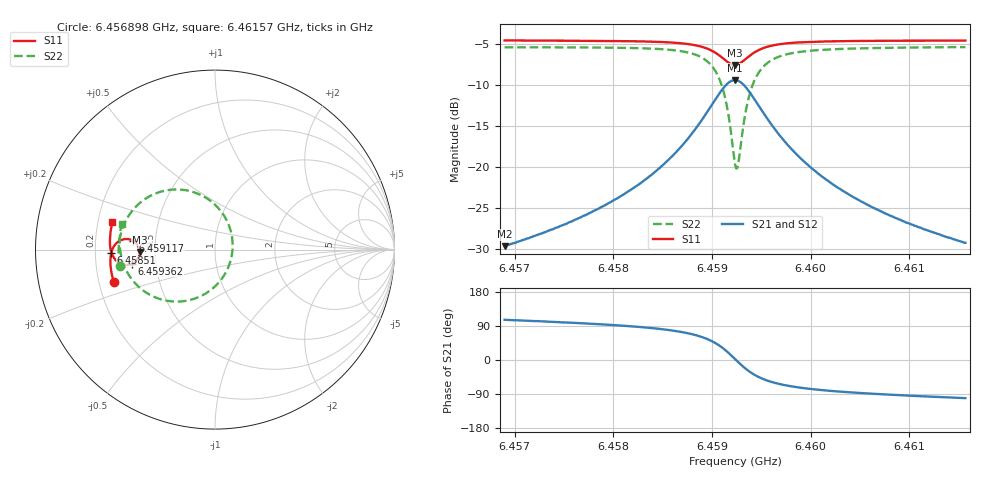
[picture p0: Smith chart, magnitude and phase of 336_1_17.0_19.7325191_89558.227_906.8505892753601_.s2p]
#  HZ  S  RI  R  50.00
! Rohde & Schwarz Vector Network Analyzer
! Rohde-Schwarz,ZNB20-2Port,1311601062101988,3.16
! Created: UTC 3/20/2024, 11:07:07 PM
! freq[Hz]  re:S11  im:S11  re:S21  im:S21  re:S12  im:S12  re:S22  im:S22
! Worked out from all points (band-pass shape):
!   401 points, 6.456898 GHz to 6.46157 GHz, reference 50 ohm
!   highest |S21| = -9.38 dB at 6.459234 GHz (marker M1); lowest = -29.6 dB at 6.456898 GHz (marker M2)
!   |S21| within 3 dB of the highest: 6.459 GHz to 6.459467 GHz (467.3 kHz wide, 0.00723 % of centre)
!   lowest |S11| = -7.5 dB at 6.459234 GHz (marker M3), VSWR 2.45, Z = 20.4 - j0.644 ohm
!   |S11| at or under -10 dB: nowhere
!   |S22| runs from -20.2 to -5.4 dB; largest |S21 - S12| = 0.013
!   S11 on the Smith chart (normalised r, x): 6.456898 GHz: 0.26, -0.14; 6.45851 GHz: 0.27, -0.02; 6.459117 GHz: 0.37, +0.05; 6.459362 GHz: 0.37, -0.07; 6.46157 GHz: 0.26, +0.12
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6.4568977e9  -0.5648 -0.1782  -0.00917 0.0317  -0.00737 0.0317  -0.5304 -0.0908
6.4576803e9  -0.5797 -0.1103  -0.00579 0.0494  -0.00345 0.0489  -0.5368 -0.000608
6.4580892e9  -0.5831 -0.0697  -0.000731 0.0672  0.00243 0.066  -0.5303 0.0622
6.458463e9  -0.5797 -0.0258  0.0131 0.0972  0.0171 0.0945  -0.5053 0.1436
6.4585097e9  -0.5783 -0.0193  0.0165 0.1024  0.0206 0.0996  -0.4993 0.1567
6.4587199e9  -0.5664 0.0125  0.042 0.1339  0.0462 0.1292  -0.4514 0.2276
6.4588718e9  -0.5455 0.0389  0.084 0.1641  0.0874 0.1576  -0.3746 0.2913
6.4590236e9  -0.4997 0.0588  0.1745 0.1829  0.1756 0.1756  -0.2097 0.3351
6.4591171e9  -0.4556 0.049  0.2631 0.1527  0.2634 0.1466  -0.0465 0.2864
6.4591638e9  -0.4348 0.0304  0.3062 0.1105  0.3074 0.1051  0.0347 0.2118
6.4592339e9  -0.4201 -0.013  0.3391 0.0153  0.3427 0.00821  0.0982 0.0359
6.4592456e9  -0.4204 -0.0209  0.339 -0.00217  0.3425 -0.00977  0.098 0.00318
6.4592689e9  -0.4239 -0.0364  0.3337 -0.0364  0.3371 -0.0453  0.0872 -0.0611
6.4593273e9  -0.4443 -0.067  0.2962 -0.1072  0.2974 -0.1193  0.0119 -0.1934
6.4593624e9  -0.4609 -0.0781  0.2646 -0.1356  0.2635 -0.1485  -0.0519 -0.2445
6.4594558e9  -0.5037 -0.0847  0.1814 -0.1664  0.1754 -0.1775  -0.2163 -0.2895
6.4596077e9  -0.547 -0.0643  0.0952 -0.1532  0.0869 -0.1593  -0.3797 -0.2417
6.4597712e9  -0.5684 -0.0367  0.0509 -0.126  0.0436 -0.1287  -0.4587 -0.1714
6.4600165e9  -0.5811 -0.00125  0.0224 -0.0953  0.0165 -0.0959  -0.5059 -0.0907
6.4603903e9  -0.5857 0.0425  0.00588 -0.0677  0.00184 -0.0672  -0.5277 -0.00819
6.4607992e9  -0.5837 0.0831  -0.0013 -0.0508  -0.004 -0.0501  -0.5313 0.0552
6.4615701e9  -0.5716 0.1512  -0.00628 -0.034  -0.00808 -0.033  -0.5198 0.1449
